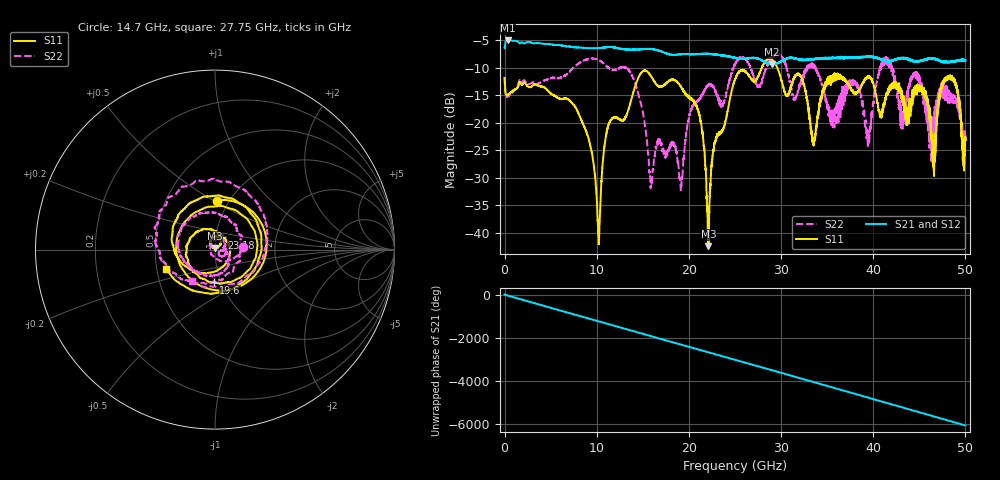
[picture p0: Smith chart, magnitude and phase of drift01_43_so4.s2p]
!Created with skrf (http://scikit-rf.org).
# Hz S RI R 50.0
!freq ReS11 ImS11 ReS21 ImS21 ReS12 ImS12 ReS22 ImS22
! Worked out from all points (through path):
!   10001 points, 300 kHz to 50 GHz, reference 50 ohm
!   highest |S21| = -5.06 dB at 325.3 MHz (marker M1); lowest = -9.4 dB at 29.03 GHz (marker M2)
!   group delay of S21, straight-line fit = 336 ps
!   lowest |S11| = -42.5 dB at 22.12 GHz (marker M3), VSWR 1.02, Z = 49.8 + j0.72 ohm
!   |S11| at or under -10 dB: start of sweep to 27.92 GHz; 29.59 GHz to end of sweep
!   |S22| runs from -32.4 to -7.5 dB; largest |S21 - S12| = 0.012
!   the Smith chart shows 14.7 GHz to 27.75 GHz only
!   S11 on the Smith chart (normalised r, x): 14.7 GHz: 0.88, +0.52; 19.6 GHz: 0.92, -0.35; 23.18 GHz: 1.07, +0.15; 27.75 GHz: 0.56, -0.13
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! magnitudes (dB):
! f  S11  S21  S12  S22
! 300 kHz  -11.9  -6.4  -6.5  -11.7
! 325.3 MHz  -15.0  -5.1  -5.1  -15.3
! 8.335 GHz  -19.6  -6.4  -6.4  -8.9
! 10.21 GHz  -41.9  -6.4  -6.4  -8.6
! 11.24 GHz  -20.6  -6.3  -6.3  -10.0
! 14.7 GHz  -11.3  -6.7  -6.7  -16.0
! 15.88 GHz  -11.5  -6.6  -6.6  -31.0
! 16.67 GHz  -13.3  -6.9  -6.9  -23.2
! 19.6 GHz  -14.7  -7.5  -7.5  -23.6
! 21.23 GHz  -19.5  -7.5  -7.5  -15.6
! 22.12 GHz  -42.5  -7.5  -7.5  -13.3
! 23.18 GHz  -22.1  -7.7  -7.7  -15.8
! 25 GHz  -12.1  -8.2  -8.3  -9.5
! 27.75 GHz  -10.7  -8.5  -8.5  -13.2
! 29.03 GHz  -8.6  -9.4  -9.4  -8.2
! 33.34 GHz  -22.4  -8.5  -8.5  -9.5
! 39.47 GHz  -11.6  -8.0  -8.0  -22.2
! 41.67 GHz  -13.9  -8.8  -8.8  -8.9
! 45.36 GHz  -13.9  -8.7  -8.7  -13.8
! 46.56 GHz  -27.6  -8.4  -8.3  -20.7
! 48.53 GHz  -11.8  -8.9  -8.9  -14.9
! 50 GHz  -23.1  -8.7  -8.7  -22.9
